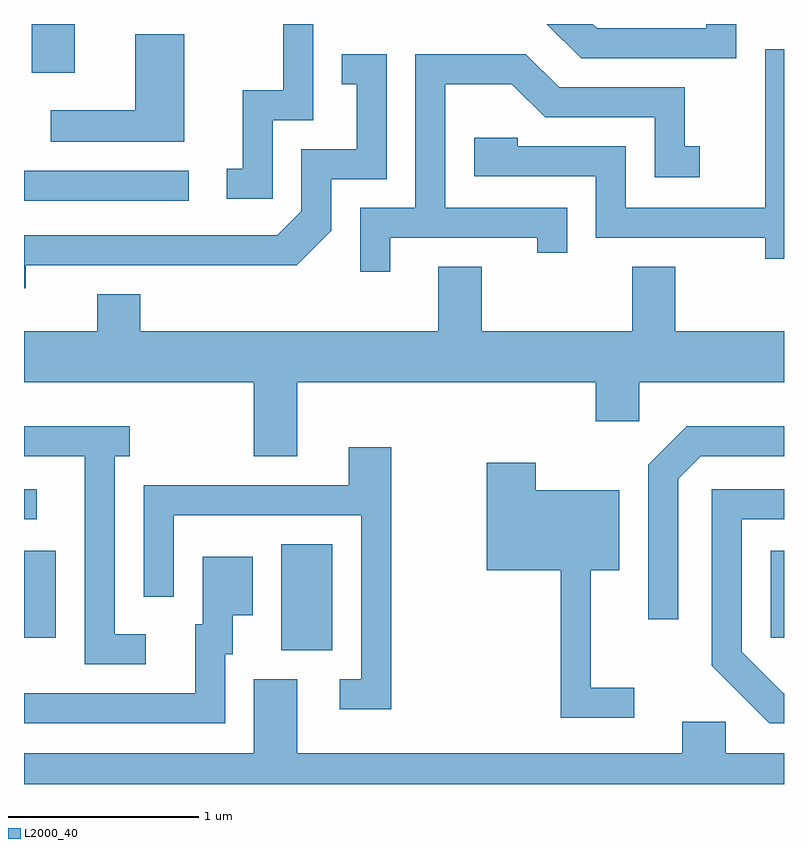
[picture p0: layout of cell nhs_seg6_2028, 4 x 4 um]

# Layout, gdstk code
import gdstk
lib = gdstk.Library(unit=1e-6, precision=1e-09)
def R(c, l, rs):  # rectangles x0, y0, x1, y1
    for r in rs: c.add(gdstk.rectangle(r[:2], r[2:], *l))
def P(c, l, *ps):  # polygons
    for p in ps: c.add(gdstk.Polygon(p, *l))
L2000_40 = (2000, 40)

nhs_seg6_2028 = lib.new_cell('nhs_seg6_2028')
R(nhs_seg6_2028, L2000_40, [(248.966,1530.866,249.234,1531.424), (247.611,1530.931,247.779,1531.389), (251.541,1530.931,251.611,1531.389), (247.611,1531.556,247.678,1531.714), (247.611,1533.231,248.478,1533.389), (247.651,1533.906,247.879,1534.162)])
P(nhs_seg6_2028, L2000_40, [(251.359,1534.162),(251.201,1534.162),(251.201,1534.139),(250.627,1534.139),(250.604,1534.162),(250.363,1534.162),(250.544,1533.981),(251.359,1533.981)],
  [(248.919,1533.656),(249.134,1533.656),(249.134,1534.162),(248.976,1534.162),(248.976,1533.814),(248.761,1533.814),(248.761,1533.399),(248.678,1533.399),(248.678,1533.241),(248.919,1533.241)],
  [(248.454,1534.109),(248.196,1534.109),(248.196,1533.709),(247.753,1533.709),(247.753,1533.541),(248.454,1533.541)],
  [(251.611,1534.029),(251.511,1534.029),(251.511,1533.194),(250.779,1533.194),(250.779,1533.519),(250.209,1533.519),(250.209,1533.564),(249.981,1533.564),(249.981,1533.361),(250.621,1533.361),(250.621,1533.036),(251.511,1533.036),(251.511,1532.926),(251.611,1532.926)],
  [(249.539,1533.036),(250.311,1533.036),(250.311,1532.958),(250.469,1532.958),(250.469,1533.194),(249.829,1533.194),(249.829,1533.846),(250.179,1533.846),(250.354,1533.671),(250.931,1533.671),(250.931,1533.356),(251.168,1533.356),(251.168,1533.519),(251.089,1533.519),(251.089,1533.829),(250.427,1533.829),(250.252,1534.004),(249.671,1534.004),(249.671,1533.194),(249.381,1533.194),(249.381,1532.858),(249.539,1532.858)],
  [(247.619,1532.891),(249.047,1532.891),(249.229,1533.074),(249.229,1533.346),(249.519,1533.346),(249.519,1534.004),(249.283,1534.004),(249.283,1533.846),(249.361,1533.846),(249.361,1533.504),(249.071,1533.504),(249.071,1533.177),(248.944,1533.049),(247.611,1533.049),(247.611,1532.771),(247.619,1532.771)],
  [(249.049,1532.276),(250.621,1532.276),(250.621,1532.071),(250.849,1532.071),(250.849,1532.276),(251.611,1532.276),(251.611,1532.544),(251.039,1532.544),(251.039,1532.884),(250.811,1532.884),(250.811,1532.544),(250.019,1532.544),(250.019,1532.884),(249.791,1532.884),(249.791,1532.544),(248.224,1532.544),(248.224,1532.739),(247.996,1532.739),(247.996,1532.544),(247.611,1532.544),(247.611,1532.276),(248.821,1532.276),(248.821,1531.886),(249.049,1531.886)],
  [(251.054,1531.769),(251.172,1531.886),(251.611,1531.886),(251.611,1532.044),(251.099,1532.044),(250.896,1531.842),(250.896,1531.028),(251.054,1531.028)],
  [(248.253,1530.949),(248.089,1530.949),(248.089,1531.886),(248.168,1531.886),(248.168,1532.044),(247.611,1532.044),(247.611,1531.886),(247.931,1531.886),(247.931,1530.791),(248.253,1530.791)],
  [(249.544,1531.934),(249.321,1531.934),(249.321,1531.734),(248.241,1531.734),(248.241,1531.148),(248.399,1531.148),(248.399,1531.576),(249.386,1531.576),(249.386,1530.714),(249.273,1530.714),(249.273,1530.556),(249.544,1530.556)],
  [(250.823,1530.669),(250.594,1530.669),(250.594,1531.286),(250.744,1531.286),(250.744,1531.709),(250.304,1531.709),(250.304,1531.854),(250.046,1531.854),(250.046,1531.286),(250.436,1531.286),(250.436,1530.511),(250.823,1530.511)],
  [(251.611,1530.639),(251.607,1530.639),(251.389,1530.857),(251.389,1531.556),(251.611,1531.556),(251.611,1531.714),(251.231,1531.714),(251.231,1530.784),(251.534,1530.481),(251.611,1530.481)],
  [(248.669,1530.846),(248.709,1530.846),(248.709,1531.051),(248.814,1531.051),(248.814,1531.359),(248.551,1531.359),(248.551,1531.004),(248.511,1531.004),(248.511,1530.639),(247.611,1530.639),(247.611,1530.481),(248.669,1530.481)],
  [(251.611,1530.324),(251.304,1530.324),(251.304,1530.489),(251.076,1530.489),(251.076,1530.324),(249.049,1530.324),(249.049,1530.714),(248.821,1530.714),(248.821,1530.324),(247.611,1530.324),(247.611,1530.162),(251.611,1530.162)])

lib.write_gds('nhs_seg6_2028.gds')
